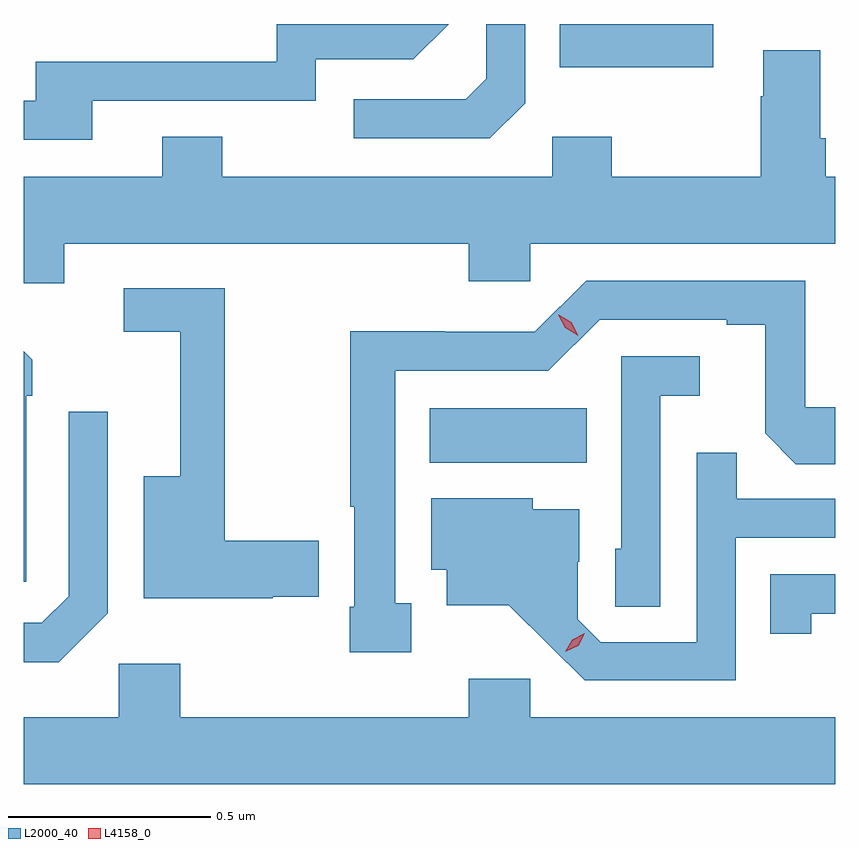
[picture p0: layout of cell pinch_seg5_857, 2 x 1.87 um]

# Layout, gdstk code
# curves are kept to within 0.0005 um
import gdstk
lib = gdstk.Library(unit=1e-6, precision=1e-09)
def R(c, l, rs):  # rectangles x0, y0, x1, y1
    for r in rs: c.add(gdstk.rectangle(r[:2], r[2:], *l))
def P(c, l, *ps):  # polygons
    for p in ps: c.add(gdstk.Polygon(p, *l))
L2000_40 = (2000, 40)
L4158_0 = (4158, 0)

pinch_seg5_857 = lib.new_cell('pinch_seg5_857')
R(pinch_seg5_857, L2000_40, [(760.079,877.532,760.466,877.666), (760.399,878.507,760.777,878.613)])
P(pinch_seg5_857, L2000_40, [(759.247,878.424),(759.798,878.424),(759.798,878.526),(760.038,878.526),(760.125,878.613),(759.702,878.613),(759.702,878.52),(759.107,878.52),(759.107,878.424),(759.078,878.424),(759.078,878.328),(759.247,878.328)],
  [(760.314,878.418),(760.314,878.613),(760.218,878.613),(760.218,878.478),(760.167,878.427),(759.891,878.427),(759.891,878.331),(760.227,878.331)],
  [(760.175,877.979),(760.326,877.979),(760.326,878.072),(761.078,878.072),(761.078,878.236),(761.054,878.236),(761.054,878.332),(761.041,878.332),(761.041,878.548),(760.901,878.548),(760.901,878.435),(760.894,878.435),(760.894,878.236),(760.527,878.236),(760.527,878.335),(760.38,878.335),(760.38,878.236),(759.567,878.236),(759.567,878.335),(759.419,878.335),(759.419,878.236),(759.078,878.236),(759.078,877.974),(759.178,877.974),(759.178,878.072),(760.175,878.072)],
  [(760.033,877.185),(759.994,877.185),(759.994,877.758),(760.371,877.758),(760.497,877.884),(760.811,877.884),(760.811,877.872),(760.905,877.872),(760.905,877.604),(760.981,877.528),(761.078,877.528),(761.078,877.668),(761.004,877.668),(761.004,877.98),(760.464,877.98),(760.338,877.854),(760.116,877.854),(760.116,877.856),(759.883,877.856),(759.883,877.423),(759.893,877.423),(759.893,877.177),(759.882,877.177),(759.882,877.065),(760.033,877.065)],
  [(759.692,877.201),(759.805,877.201),(759.805,877.34),(759.574,877.34),(759.574,877.962),(759.324,877.962),(759.324,877.854),(759.464,877.854),(759.464,877.498),(759.374,877.498),(759.374,877.198),(759.692,877.198)],
  [(759.084,877.697),(759.099,877.697),(759.099,877.785),(759.078,877.806),(759.078,877.239),(759.084,877.239)],
  [(760.647,877.697),(760.744,877.697),(760.744,877.794),(760.551,877.794),(760.551,877.32),(760.536,877.32),(760.536,877.177),(760.647,877.177)],
  [(759.285,877.161),(759.285,877.657),(759.189,877.657),(759.189,877.203),(759.123,877.137),(759.078,877.137),(759.078,877.04),(759.164,877.04)],
  [(760.833,877.347),(761.078,877.347),(761.078,877.443),(760.835,877.443),(760.835,877.556),(760.737,877.556),(760.737,877.089),(760.5,877.089),(760.443,877.146),(760.443,877.288),(760.447,877.288),(760.447,877.417),(760.332,877.417),(760.332,877.444),(760.082,877.444),(760.082,877.268),(760.121,877.268),(760.121,877.181),(760.273,877.181),(760.46,876.996),(760.833,876.996)],
  [(761.019,877.159),(761.078,877.159),(761.078,877.257),(760.918,877.257),(760.918,877.11),(761.019,877.11)],
  [(761.078,876.904),(760.326,876.904),(760.326,877),(760.175,877),(760.175,876.904),(759.464,876.904),(759.464,877.036),(759.312,877.036),(759.312,876.904),(759.078,876.904),(759.078,876.74),(761.078,876.74)])
P(pinch_seg5_857, L4158_0, [(760.413,877.066),(760.413,877.066),(760.43,877.096),(760.461,877.111),(760.461,877.111),(760.461,877.111),(760.444,877.081),(760.413,877.066)],
  [(760.444,877.845),(760.413,877.864),(760.395,877.896),(760.395,877.897),(760.396,877.897),(760.427,877.878),(760.444,877.845),(760.444,877.845)])

lib.write_gds('pinch_seg5_857.gds')
